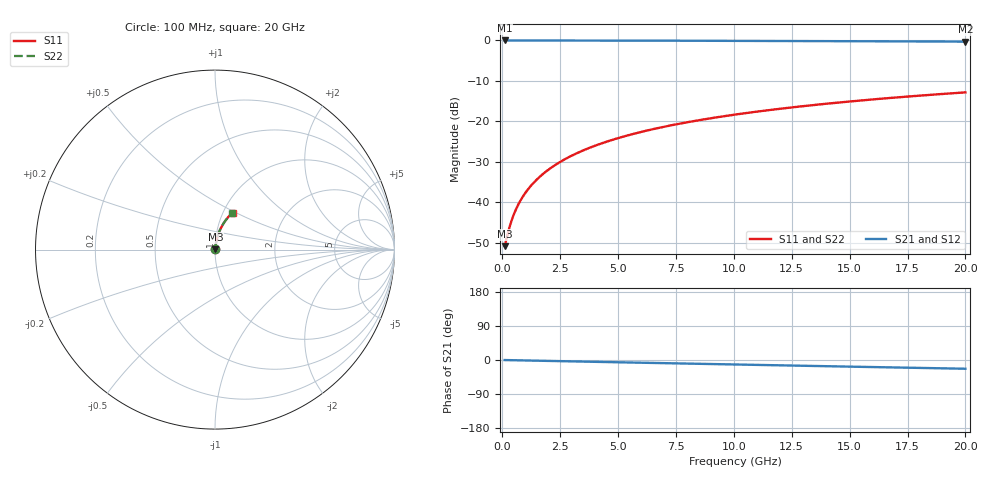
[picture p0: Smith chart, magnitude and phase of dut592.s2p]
! Touchstone file exported from HFSS 2026.1.0
!  File:  C:/ffzhzh/LocalFiles/Ansys_Project_Files/temp_train_BSMRDL_592_1783015889_46388.aedt
!  Generated:  02:12:48 AM Jul  3, 2026
!  Design:  BSMRDL
!  Project:  temp_train_BSMRDL_592_1783015889_46388
! Variables:
!  h_bsmrdl = 3.82um
!  h_ox = 20um
!  h_rdl = 5um
!  h_sub = 80um
!  h_tmrdl = 5um
!  h_tsv = 80um
!  h_via = 3um
!  l_bsmrdl = 323.52um
!  l_sub = 723.52um
!  l_tmrdl = 200um
!  m_sub = 200um
!  pitch = 30.79um
!  r_tsv = 6um
!  s_tmrdl = 10um
!  w_bsmrdl = 12.54um
!  w_sub = 500um
!  w_tmrdl = 12um
!  x_tsv_center1 = 206um
!  x_tsv_center2 = 542.06um
!  x_tsv_center3 = 754.06um
!  x_tsv_center4 = 1090.12um
!  x_tsv_center5 = 1302.12um
!  x_tsv_center6 = 1638.18um
# GHz S MA R 50.000000
! Terminal data exported
! Port[1] = BSM_RDL1_1_T1
! Port[2] = BSM_RDL1_1_T2
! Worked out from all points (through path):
!   200 points, 100 MHz to 20 GHz, reference 50 ohm
!   highest |S21| = -0.02 dB at 100 MHz (marker M1); lowest = -0.3 dB at 20 GHz (marker M2)
!   group delay of S21, straight-line fit = 3.2 ps
!   lowest |S11| = -50.9 dB at 100 MHz (marker M3), VSWR 1.01, Z = 50.3 + j0.135 ohm
!   |S11| at or under -10 dB: start of sweep to end of sweep
!   |S22| runs from -50.9 to -12.9 dB; largest |S21 - S12| = 2e-15
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0.1  0.002849 28.1  0.9975 -0.1  0.9975 -0.1  0.002849 28.1
! Gamma 0 0 0 0
! Port Impedance 50 0 50 0
0.3  0.004765 56.2  0.9974 -0.4  0.9974 -0.4  0.004764 56.2
0.4  0.005903 62.4  0.9973 -0.5  0.9973 -0.5  0.005902 62.3
0.5  0.00707 66.4  0.9972 -0.6  0.9972 -0.6  0.007068 66.4
0.6  0.008251 69.3  0.9972 -0.7  0.9972 -0.7  0.008249 69.3
0.7  0.009441 71.5  0.9971 -0.9  0.9971 -0.9  0.009438 71.5
0.9  0.01184 74.6  0.997 -1.1  0.997 -1.1  0.01184 74.6
1.2  0.01547 77.3  0.9969 -1.5  0.9969 -1.5  0.01547 77.3
1.4  0.01791 78.4  0.9968 -1.7  0.9968 -1.7  0.01791 78.4
1.7  0.02158 79.6  0.9966 -2.1  0.9966 -2.1  0.02158 79.6
2.2  0.02771 80.6  0.9964 -2.7  0.9964 -2.7  0.02771 80.6
2.8  0.03508 81.0  0.996 -3.4  0.996 -3.4  0.03507 81.0
3.5  0.04364 80.9  0.9954 -4.2  0.9954 -4.2  0.04364 80.9
4.2  0.05215 80.6  0.9947 -5.0  0.9947 -5.0  0.05215 80.6
5  0.06181 80.0  0.9938 -6.0  0.9938 -6.0  0.06181 80.0
5.9  0.07257 79.2  0.9927 -7.1  0.9927 -7.1  0.07257 79.2
6.8  0.08322 78.4  0.9915 -8.1  0.9915 -8.1  0.08322 78.4
8.3  0.1007 76.9  0.9892 -9.9  0.9892 -9.9  0.1007 76.9
10.1  0.1213 75.0  0.9862 -11.9  0.9862 -11.9  0.1213 75.0
13.4  0.1581 71.5  0.9798 -15.7  0.9798 -15.7  0.1581 71.5
16.7  0.1935 68.1  0.9726 -19.4  0.9726 -19.4  0.1935 68.1
20  0.2274 64.6  0.9646 -23.1  0.9646 -23.1  0.2274 64.6
